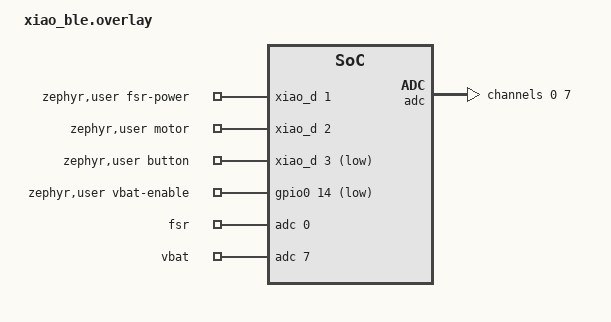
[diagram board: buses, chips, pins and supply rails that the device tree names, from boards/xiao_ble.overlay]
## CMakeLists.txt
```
cmake_minimum_required(VERSION 3.20.0)
find_package(Zephyr REQUIRED HINTS $ENV{ZEPHYR_BASE})
project(hush)

target_include_directories(app PRIVATE lib src)
target_sources(app PRIVATE src/main.c src/ble.c src/sensors.c lib/hush_capi.cpp)
```

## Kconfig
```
mainmenu "Hush retainer"

config HUSH_DEVKIT
	bool "Development kit: force sensor on the ADC; hall, capacitive and temperature mocked from the shell"
	default y if BOARD_XIAO_BLE
	select SHELL

source "Kconfig.zephyr"
```

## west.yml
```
# Zephyr version the firmware is verified against (upstream Zephyr; the same
# code builds on nRF Connect SDK v3.x). Workspace in CI: west init -l firmware
manifest:
  remotes:
    - name: zephyrproject-rtos
      url-base: https://github.com/zephyrproject-rtos
  projects:
    - name: zephyr
      remote: zephyrproject-rtos
      revision: v4.2.0
      import:
        name-allowlist: [cmsis_6, hal_nordic, mcuboot, zcbor, mbedtls, tinycrypt, segger]
  self:
    path: firmware
```

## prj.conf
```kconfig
# Hush retainer firmware (SPEC §5). Board specifics live in boards/<board>.{conf,overlay}.
CONFIG_CPP=y
CONFIG_STD_CPP17=y
CONFIG_FPU=y
CONFIG_MAIN_STACK_SIZE=4096
CONFIG_SYSTEM_WORKQUEUE_STACK_SIZE=2048
CONFIG_LOG=y
CONFIG_HWINFO=y
CONFIG_GPIO=y
CONFIG_ADC=y

# Event log, config and bonds persist in flash (NVS through settings)
CONFIG_FLASH=y
CONFIG_FLASH_MAP=y
CONFIG_NVS=y
CONFIG_SETTINGS=y
CONFIG_SETTINGS_NVS=y

# BLE: LE Secure Connections only, bonded, encrypted, at most 2 bonds (SPEC §5.5)
CONFIG_BT=y
CONFIG_BT_PERIPHERAL=y
CONFIG_BT_DEVICE_NAME="Hush"
CONFIG_BT_MAX_CONN=1
CONFIG_BT_MAX_PAIRED=2
CONFIG_BT_SMP=y
CONFIG_BT_SMP_SC_PAIR_ONLY=y
CONFIG_BT_SMP_APP_PAIRING_ACCEPT=y
CONFIG_BT_BONDABLE=y
CONFIG_BT_SETTINGS=y
CONFIG_BT_FILTER_ACCEPT_LIST=y
CONFIG_BT_PRIVACY=y
CONFIG_BT_L2CAP_TX_MTU=65
CONFIG_BT_BUF_ACL_RX_SIZE=69
```

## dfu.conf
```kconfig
# DFU over BLE (SPEC §5.5): MCUmgr SMP + MCUboot, refused unless DOCKED.
# For boards with MCUboot slot partitions (the v1 board):
#   west build -b <board> firmware --sysbuild -- -DEXTRA_CONF_FILE=dfu.conf
# The XIAO dev kit keeps its UF2 bootloader and is updated over USB instead.
CONFIG_NET_BUF=y
CONFIG_ZCBOR=y
CONFIG_MCUMGR=y
CONFIG_MCUMGR_TRANSPORT_BT=y
CONFIG_MCUMGR_TRANSPORT_BT_PERM_RW_ENCRYPT=y
CONFIG_MCUMGR_GRP_IMG=y
CONFIG_MCUMGR_GRP_OS=y
CONFIG_IMG_MANAGER=y
CONFIG_STREAM_FLASH=y
CONFIG_MCUMGR_MGMT_NOTIFICATION_HOOKS=y
CONFIG_MCUMGR_SMP_COMMAND_STATUS_HOOKS=y
```

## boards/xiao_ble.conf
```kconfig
# Dev kit: FSR on A0, motor on D2, "case button" on D3, mocked wear sensors via `hush` shell
CONFIG_HUSH_DEVKIT=y
CONFIG_SHELL=y
CONFIG_ADC_NRFX_SAADC=y
```

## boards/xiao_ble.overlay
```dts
/* Dev kit wiring (same as v0.1):
 *   FSR between D1 (switched supply) and A0, 10 kΩ from A0 to GND
 *   vibration motor via NPN on D2 (+ flyback diode)
 *   "case pairing button" to GND on D3
 */
#include <zephyr/dt-bindings/adc/nrf-saadc.h>

/ {
	zephyr,user {
		io-channels = <&adc 0>, <&adc 7>;
		io-channel-names = "fsr", "vbat";
		fsr-power-gpios = <&xiao_d 1 GPIO_ACTIVE_HIGH>;
		motor-gpios = <&xiao_d 2 GPIO_ACTIVE_HIGH>;
		button-gpios = <&xiao_d 3 (GPIO_ACTIVE_LOW | GPIO_PULL_UP)>;
		vbat-enable-gpios = <&gpio0 14 GPIO_ACTIVE_LOW>;
	};
};

&adc {
	status = "okay";
	#address-cells = <1>;
	#size-cells = <0>;

	channel@0 {
		reg = <0>;
		zephyr,gain = "ADC_GAIN_1_6";
		zephyr,reference = "ADC_REF_INTERNAL";
		zephyr,acquisition-time = <ADC_ACQ_TIME_DEFAULT>;
		zephyr,input-positive = <NRF_SAADC_AIN0>;
		zephyr,resolution = <12>;
	};

	channel@7 {
		reg = <7>;
		zephyr,gain = "ADC_GAIN_1_6";
		zephyr,reference = "ADC_REF_INTERNAL";
		zephyr,acquisition-time = <ADC_ACQ_TIME_DEFAULT>;
		zephyr,input-positive = <NRF_SAADC_AIN7>;
		zephyr,resolution = <12>;
	};
};
```

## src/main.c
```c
/* Hush retainer firmware (SPEC §5). 50 Hz loop: read sensors, run the core,
 * play haptics, persist the event log before it is indicated, drive BLE. */
#include <zephyr/bluetooth/bluetooth.h>
#include <zephyr/drivers/gpio.h>
#include <zephyr/drivers/hwinfo.h>
#include <zephyr/logging/log.h>
#include <zephyr/settings/settings.h>
#include <zephyr/sys/atomic.h>

#include "app.h"

LOG_MODULE_REGISTER(hush, LOG_LEVEL_INF);

K_MUTEX_DEFINE(core_lock);
void* core;
volatile uint32_t persisted_next_seq;

#define SAMPLE_MS 20
#define BATTERY_MS 30000

/* ---------------------------------------------------------------- haptics */
static const struct gpio_dt_spec motor = GPIO_DT_SPEC_GET(DT_PATH(zephyr_user), motor_gpios);
static uint8_t buzz_left;
static uint16_t buzz_on_ms;
static bool buzz_on;

static void buzz_step(struct k_work* w);
static K_WORK_DELAYABLE_DEFINE(buzz_work, buzz_step);

static void buzz_step(struct k_work* w) {
  if (buzz_on) {
    gpio_pin_set_dt(&motor, 0);
    buzz_on = false;
    if (buzz_left) k_work_reschedule(&buzz_work, K_MSEC(HUSH_HAPTIC_GAP_MS));
    return;
  }
  if (!buzz_left) return;
  buzz_left--;
  buzz_on = true;
  gpio_pin_set_dt(&motor, 1);
  k_work_reschedule(&buzz_work, K_MSEC(buzz_on_ms));
}

static void play(uint8_t pattern) {
  hush_haptic_pulses(pattern, &buzz_left, &buzz_on_ms);
  buzz_on = false;
  gpio_pin_set_dt(&motor, 0);
  k_work_reschedule(&buzz_work, K_NO_WAIT);
}

/* ---------------------------------------------------------------- persistence */
static atomic_t dirty;

static void save_step(struct k_work* w) {
  static uint8_t buf[HUSH_LOG_BLOB_MAX];
  size_t n;
  uint32_t next;
  atomic_val_t d = atomic_clear(&dirty);
  if (d & HUSH_DIRTY_SETTINGS) {
    LOCKED(n = hush_save_settings(core, buf));
    if (settings_save_one("hush/cfg", buf, n)) atomic_or(&dirty, HUSH_DIRTY_SETTINGS);
  }
  if (d & HUSH_DIRTY_LOG) {
    LOCKED(n = hush_save_log(core, buf); next = hush_next_seq(core));
    if (settings_save_one("hush/log", buf, n) == 0) persisted_next_seq = next;
    else atomic_or(&dirty, HUSH_DIRTY_LOG); /* retried on the next sample */
  }
}
static K_WORK_DEFINE(save_work, save_step);

static int load(const char* name, size_t len, settings_read_cb read_cb, void* arg) {
  static uint8_t buf[HUSH_LOG_BLOB_MAX];
  if (len > sizeof buf) return -EINVAL;
  ssize_t n = read_cb(arg, buf, len);
  if (n < 0) return n;
  if (!strcmp(name, "log")) LOCKED(hush_load_log(core, buf, n));
  else if (!strcmp(name, "cfg")) LOCKED(hush_load_settings(core, buf, n));
  return 0;
}
static struct settings_handler hush_settings = {.name = "hush", .h_set = load};

/* ---------------------------------------------------------------- main */
int main(void) {
  core = hush_static();
  gpio_pin_configure_dt(&motor, GPIO_OUTPUT_INACTIVE);
  if (sensors_init()) LOG_ERR("sensor init failed");

  settings_subsys_init();
  settings_register(&hush_settings);
  int err = bt_enable(NULL);
  if (err) LOG_ERR("bt_enable %d", err);
  ble_init();
  settings_load(); /* bonds, config + calibration, event log */

  uint32_t cause = 0;
  hwinfo_get_reset_cause(&cause);
  hwinfo_clear_reset_cause();
  LOCKED(hush_boot(core, k_uptime_get_32(), (uint16_t)cause));
  atomic_or(&dirty, HUSH_DIRTY_LOG);
  save_step(NULL);

  int64_t next = k_uptime_get();
  uint32_t last_batt = 0;
  bool first = true;
  for (;;) {
    uint32_t now = k_uptime_get_32();
    struct hush_inputs in = sensors_read();
    uint8_t haptic;
    int d;
    LOCKED(hush_sample(core, now, in.p_hpa, in.temp_c, in.hall, in.power, in.cap, in.button); haptic = hush_take_haptic(core);
           d = hush_take_dirty(core));
    if (haptic) play(haptic);
    if (first || now - last_batt >= BATTERY_MS) {
      uint16_t mv = battery_mv();
      first = false;
      last_batt = now;
      LOCKED(hush_battery(core, now, mv); d |= hush_take_dirty(core));
    }
    if (d || atomic_get(&dirty)) {
      atomic_or(&dirty, d);
      k_work_submit(&save_work);
    }
    ble_tick(now);
    next += SAMPLE_MS;
    k_sleep(K_TIMEOUT_ABS_MS(next));
  }
  return 0;
}
```

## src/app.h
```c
/* Shared by the Zephyr glue. All logic lives in lib/hush_core.h behind the C
 * ABI in lib/hush.h; these files only move bytes between it and the hardware. */
#ifndef HUSH_APP_H
#define HUSH_APP_H
#include <stdbool.h>
#include <zephyr/kernel.h>

#include "hush.h"

extern void* core;             /* hush_static() */
extern struct k_mutex core_lock; /* held for every hush_* call: sampling loop and BLE callbacks race */
#define LOCKED(stmt)                            \
  do {                                          \
    k_mutex_lock(&core_lock, K_FOREVER);        \
    stmt;                                       \
    k_mutex_unlock(&core_lock);                 \
  } while (0)

/* Events with seq >= this are not in flash yet and must not be indicated: a
 * reboot would reuse their seq for a different event. */
extern volatile uint32_t persisted_next_seq;

struct hush_inputs {
  float p_hpa;
  float temp_c;
  bool hall;
  bool power; /* charging power from the case present */
  int8_t cap; /* 1 near, 0 far, -1 unavailable */
  bool button;
};

int sensors_init(void);
struct hush_inputs sensors_read(void);
uint16_t battery_mv(void);

int ble_init(void);
void ble_tick(uint32_t now);

#endif
```

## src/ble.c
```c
/* GATT v2 (SPEC §5.5): LE Secure Connections only, bonded, every characteristic
 * encrypted; pairing only inside the DOCKED + 5 s button window; at most 2
 * bonds; advertising interval and flags from the core; DFU only while DOCKED. */
#include <zephyr/bluetooth/bluetooth.h>
#include <zephyr/bluetooth/conn.h>
#include <zephyr/bluetooth/gatt.h>
#include <zephyr/bluetooth/uuid.h>
#include <zephyr/logging/log.h>
#ifdef CONFIG_MCUMGR
#include <zephyr/mgmt/mcumgr/mgmt/callbacks.h>
#include <zephyr/mgmt/mcumgr/mgmt/mgmt.h>
#endif

#include "app.h"

LOG_MODULE_REGISTER(hush_ble, LOG_LEVEL_INF);

/* Same UUID base as v0.1; short id in the first field. Kept in sync with sim/
 * and app-android by sim/tests/test_protocol_parity.py. */
#define HUSH_UUID(n) BT_UUID_128_ENCODE(0x48570000 + (n), 0x0010, 0x55a1, 0x8e4d, 0x4c902b6e1f3a)
static const struct bt_uuid_128 svc_uuid = BT_UUID_INIT_128(HUSH_UUID(1));
static const struct bt_uuid_128 event_uuid = BT_UUID_INIT_128(HUSH_UUID(2));
static const struct bt_uuid_128 ack_uuid = BT_UUID_INIT_128(HUSH_UUID(3));
static const struct bt_uuid_128 config_uuid = BT_UUID_INIT_128(HUSH_UUID(4));
static const struct bt_uuid_128 cal_uuid = BT_UUID_INIT_128(HUSH_UUID(5));
static const struct bt_uuid_128 status_uuid = BT_UUID_INIT_128(HUSH_UUID(6));
static const struct bt_uuid_128 live_uuid = BT_UUID_INIT_128(HUSH_UUID(7));
static const struct bt_uuid_128 haptic_uuid = BT_UUID_INIT_128(HUSH_UUID(8));

#define ENC_RW (BT_GATT_PERM_READ_ENCRYPT | BT_GATT_PERM_WRITE_ENCRYPT)

static struct bt_conn* conn;
static bool event_sub, status_sub, live_sub;
static volatile bool ind_busy;
static uint8_t ind_buf[HUSH_EVENT_LEN];
static uint32_t ind_seq;
static struct bt_gatt_indicate_params ind;

/* ---------------------------------------------------------------- characteristics */
/* The core validates every write; a rejection is an ATT error (I11). */
static ssize_t accept(int ok, uint16_t len) { return ok ? len : BT_GATT_ERR(BT_ATT_ERR_VALUE_NOT_ALLOWED); }

static ssize_t write_ack(struct bt_conn* c, const struct bt_gatt_attr* a, const void* buf, uint16_t len, uint16_t off, uint8_t f) {
  int ok = 0;
  if (!off) LOCKED(ok = hush_write_ack(core, buf, len));
  return accept(ok, len);
}
static ssize_t write_config(struct bt_conn* c, const struct bt_gatt_attr* a, const void* buf, uint16_t len, uint16_t off, uint8_t f) {
  int ok = 0;
  if (!off) LOCKED(ok = hush_write_config(core, buf, len));
  return accept(ok, len);
}
static ssize_t write_cal(struct bt_conn* c, const struct bt_gatt_attr* a, const void* buf, uint16_t len, uint16_t off, uint8_t f) {
  int ok = 0;
  if (!off) LOCKED(ok = hush_write_calibrate(core, k_uptime_get_32(), buf, len));
  return accept(ok, len);
}
static ssize_t write_haptic(struct bt_conn* c, const struct bt_gatt_attr* a, const void* buf, uint16_t len, uint16_t off, uint8_t f) {
  int ok = 0;
  if (!off) LOCKED(ok = hush_write_haptic(core, buf, len));
  return accept(ok, len);
}
static ssize_t read_config(struct bt_conn* c, const struct bt_gatt_attr* a, void* buf, uint16_t len, uint16_t off) {
  uint8_t b[HUSH_CONFIG_LEN];
  LOCKED(hush_read_config(core, b));
  return bt_gatt_attr_read(c, a, buf, len, off, b, sizeof b);
}
static ssize_t read_status(struct bt_conn* c, const struct bt_gatt_attr* a, void* buf, uint16_t len, uint16_t off) {
  uint8_t b[HUSH_STATUS_LEN];
  LOCKED(hush_read_status(core, b));
  return bt_gatt_attr_read(c, a, buf, len, off, b, sizeof b);
}
static void event_ccc(const struct bt_gatt_attr* a, uint16_t v) { event_sub = v & BT_GATT_CCC_INDICATE; }
static void status_ccc(const struct bt_gatt_attr* a, uint16_t v) { status_sub = v & BT_GATT_CCC_NOTIFY; }
static void live_ccc(const struct bt_gatt_attr* a, uint16_t v) { live_sub = v & BT_GATT_CCC_NOTIFY; }

BT_GATT_SERVICE_DEFINE(hush_svc,
  BT_GATT_PRIMARY_SERVICE(&svc_uuid),
  BT_GATT_CHARACTERISTIC(&event_uuid.uuid, BT_GATT_CHRC_INDICATE, BT_GATT_PERM_NONE, NULL, NULL, NULL),
  BT_GATT_CCC(event_ccc, ENC_RW),
  BT_GATT_CHARACTERISTIC(&ack_uuid.uuid, BT_GATT_CHRC_WRITE, BT_GATT_PERM_WRITE_ENCRYPT, NULL, write_ack, NULL),
  BT_GATT_CHARACTERISTIC(&config_uuid.uuid, BT_GATT_CHRC_READ | BT_GATT_CHRC_WRITE, ENC_RW, read_config, write_config, NULL),
  BT_GATT_CHARACTERISTIC(&cal_uuid.uuid, BT_GATT_CHRC_WRITE, BT_GATT_PERM_WRITE_ENCRYPT, NULL, write_cal, NULL),
  BT_GATT_CHARACTERISTIC(&status_uuid.uuid, BT_GATT_CHRC_READ | BT_GATT_CHRC_NOTIFY, BT_GATT_PERM_READ_ENCRYPT, read_status, NULL, NULL),
  BT_GATT_CCC(status_ccc, ENC_RW),
  BT_GATT_CHARACTERISTIC(&haptic_uuid.uuid, BT_GATT_CHRC_WRITE, BT_GATT_PERM_WRITE_ENCRYPT, NULL, write_haptic, NULL),
  BT_GATT_CHARACTERISTIC(&live_uuid.uuid, BT_GATT_CHRC_NOTIFY, BT_GATT_PERM_NONE, NULL, NULL, NULL),
  BT_GATT_CCC(live_ccc, ENC_RW),
);

static const struct bt_gatt_attr* attr_of(const struct bt_uuid_128* u) {
  return bt_gatt_find_by_uuid(hush_svc.attrs, hush_svc.attr_count, &u->uuid);
}

/* ---------------------------------------------------------------- connections, pairing */
static bool adv_on, adv_dirty = true, adv_pairing;
static uint16_t adv_iv;
static uint8_t adv_flags;

static void connected(struct bt_conn* c, uint8_t err) {
  adv_on = false;
  if (err) {
    adv_dirty = true;
    return;
  }
  conn = bt_conn_ref(c);
  bt_conn_set_security(c, BT_SECURITY_L2); /* encrypt with the bond, or pair inside the window */
}

static void disconnected(struct bt_conn* c, uint8_t reason) {
  if (conn == c) {
    bt_conn_unref(conn);
    conn = NULL;
  }
  event_sub = status_sub = live_sub = false;
  ind_busy = false;
  LOCKED(hush_disconnected(core)); /* re-send everything un-ACKed next time */
  adv_dirty = true;
  LOG_INF("disconnected 0x%02x", reason);
}

static struct bt_conn_cb conn_cbs = {.connected = connected, .disconnected = disconnected};

static enum bt_security_err pairing_accept(struct bt_conn* c, const struct bt_conn_pairing_feat* feat) {
  int open;
  LOCKED(open = hush_pairing_open(core));
  return open ? BT_SECURITY_ERR_SUCCESS : BT_SECURITY_ERR_PAIR_NOT_ALLOWED;
}
static void pairing_complete(struct bt_conn* c, bool bonded) {
  if (bonded) LOCKED(hush_pairing_bonded(core));
  adv_dirty = true;
}
static struct bt_conn_auth_cb auth_cb = {.pairing_accept = pairing_accept};
static struct bt_conn_auth_info_cb auth_info_cb = {.pairing_complete = pairing_complete};

static void count_bond(const struct bt_bond_info* info, void* n) { ++*(int*)n; }
static void accept_bond(const struct bt_bond_info* info, void* unused) { bt_le_filter_accept_list_add(&info->addr); }

/* ---------------------------------------------------------------- DFU gate */
#ifdef CONFIG_MCUMGR
static enum mgmt_cb_return smp_gate(uint32_t event, enum mgmt_cb_return prev, int32_t* rc, uint16_t* group,
                                    bool* abort_more, void* data, size_t len) {
  int ok;
  LOCKED(ok = hush_dfu_allowed(core));
  if (ok) return MGMT_CB_OK;
  *rc = MGMT_ERR_EACCESSDENIED;
  return MGMT_CB_ERROR_RC;
}
static struct mgmt_callback smp_cb = {.callback = smp_gate, .event_id = MGMT_EVT_OP_CMD_RECV};
#endif

/* ---------------------------------------------------------------- advertising */
/* Outside the pairing window only the flag byte is advertised and only bonded
 * phones may connect; the name and service UUID appear only while pairing, so a
 * stranger's scanner does not see "Hush". */
static uint8_t mfg[3] = {0xff, 0xff, 0}; /* ponytail: test company ID until Hush has a Bluetooth SIG one */
static const uint8_t flags_pairing[] = {BT_LE_AD_GENERAL | BT_LE_AD_NO_BREDR};
static const uint8_t flags_bonded[] = {BT_LE_AD_NO_BREDR};
static const uint8_t svc_bytes[] = {HUSH_UUID(1)};

static void adv_restart(uint16_t iv_ms, uint8_t flags, bool pairing) {
  bt_le_adv_stop();
  bt_le_filter_accept_list_clear();
  if (!pairing) bt_foreach_bond(BT_ID_DEFAULT, accept_bond, NULL);
  mfg[2] = flags;
  const struct bt_data ad_pair[] = {
    BT_DATA(BT_DATA_FLAGS, flags_pairing, sizeof flags_pairing),
    BT_DATA(BT_DATA_UUID128_ALL, svc_bytes, sizeof svc_bytes),
    BT_DATA(BT_DATA_MANUFACTURER_DATA, mfg, sizeof mfg),
  };
  const struct bt_data ad_bonded[] = {
    BT_DATA(BT_DATA_FLAGS, flags_bonded, sizeof flags_bonded),
    BT_DATA(BT_DATA_MANUFACTURER_DATA, mfg, sizeof mfg),
  };
  const struct bt_data sd[] = {BT_DATA(BT_DATA_NAME_COMPLETE, CONFIG_BT_DEVICE_NAME, sizeof(CONFIG_BT_DEVICE_NAME) - 1)};
  uint32_t units = (uint32_t)iv_ms * 8 / 5; /* 0.625 ms */
  struct bt_le_adv_param p = BT_LE_ADV_PARAM_INIT(BT_LE_ADV_OPT_CONN | (pairing ? 0 : BT_LE_ADV_OPT_FILTER_CONN),
                                                  units, units, NULL);
  int err = pairing ? bt_le_adv_start(&p, ad_pair, ARRAY_SIZE(ad_pair), sd, ARRAY_SIZE(sd))
                    : bt_le_adv_start(&p, ad_bonded, ARRAY_SIZE(ad_bonded), NULL, 0);
  adv_on = err == 0;
  if (err) LOG_ERR("adv start %d", err);
}

/* ---------------------------------------------------------------- per-sample tick */
static void ind_done(struct bt_conn* c, struct bt_gatt_indicate_params* p, uint8_t err) {
  if (!err) LOCKED(hush_indicated(core, ind_seq)); /* removed from the log only on ACK */
  ind_busy = false;
}

void ble_tick(uint32_t now) {
  static uint32_t last_status, last_live;
  uint16_t iv;
  uint8_t flags, pct;
  int pairing, have = 0;
  uint8_t ev[HUSH_EVENT_LEN];
  k_mutex_lock(&core_lock, K_FOREVER);
  iv = hush_adv_interval(core, now);
  flags = hush_adv_flags(core);
  pairing = hush_pairing_open(core);
  pct = hush_live_pct(core);
  if (conn && event_sub && !ind_busy) have = hush_next_event(core, ev);
  k_mutex_unlock(&core_lock);

  if (pairing && !adv_pairing) { /* entering the window with both bond slots used: start over */
    int n = 0;
    bt_foreach_bond(BT_ID_DEFAULT, count_bond, &n);
    if (n >= CONFIG_BT_MAX_PAIRED) bt_unpair(BT_ID_DEFAULT, BT_ADDR_LE_ANY);
  }
  if (!conn) {
    if (adv_dirty || !adv_on || iv != adv_iv || flags != adv_flags || pairing != adv_pairing) {
      adv_iv = iv;
      adv_flags = flags;
      adv_pairing = pairing;
      adv_dirty = false;
      adv_restart(iv, flags, pairing);
    }
    return;
  }
  adv_pairing = pairing;
  uint32_t seq = ev[0] | ev[1] << 8 | ev[2] << 16 | (uint32_t)ev[3] << 24;
  if (have && seq < persisted_next_seq) {
    memcpy(ind_buf, ev, sizeof ind_buf);
    ind_seq = seq;
    ind = (struct bt_gatt_indicate_params){.attr = attr_of(&event_uuid), .func = ind_done, .data = ind_buf, .len = sizeof ind_buf};
    ind_busy = true;
    if (bt_gatt_indicate(conn, &ind)) ind_busy = false;
  }
  if (status_sub && now - last_status >= 30000) {
    uint8_t b[HUSH_STATUS_LEN];
    last_status = now;
    LOCKED(hush_read_status(core, b));
    bt_gatt_notify(conn, attr_of(&status_uuid), b, sizeof b);
  }
  if (live_sub && now - last_live >= 50) { /* 20 Hz, tuning only */
    last_live = now;
    bt_gatt_notify(conn, attr_of(&live_uuid), &pct, 1);
  }
}

int ble_init(void) {
  bt_conn_cb_register(&conn_cbs);
#ifdef CONFIG_MCUMGR
  mgmt_callback_register(&smp_cb);
#endif
  int err = bt_conn_auth_cb_register(&auth_cb);
  return err ? err : bt_conn_auth_info_cb_register(&auth_info_cb);
}
```

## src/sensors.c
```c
/* Sensor inputs.
 *
 * Dev kit (CONFIG_HUSH_DEVKIT, Seeed XIAO nRF52840): an FSR on the ADC stands
 * in for cavity pressure (ADC counts used as "hPa"; calibration makes the units
 * irrelevant). Hall, capacitive proximity and temperature are mocked from the
 * shell: hush wear | remove | dock | magnet | nocap | temp <c> | button | status.
 *
 * v1 board (ISP1807): BMP585 cavity pressure + temperature and the hall switch.
 * ponytail: polled at 50 Hz until the v1 board exists; move to the BMP585 FIFO
 * drained every 200 ms (SPEC §5.3) for the power budget, and wire the
 * capacitive channel once its part is chosen (until then cap = -1 selects the
 * temperature fallback in the wear state machine). */
#include <stdlib.h>
#include <zephyr/drivers/adc.h>
#include <zephyr/drivers/gpio.h>
#include <zephyr/drivers/sensor.h>
#include <zephyr/shell/shell.h>

#include "app.h"

#define USER DT_PATH(zephyr_user)

#if DT_PROP_HAS_NAME(USER, io_channels, vbat)
#define HAVE_VBAT 1
static const struct adc_dt_spec vbat = ADC_DT_SPEC_GET_BY_NAME(USER, vbat);
static const struct gpio_dt_spec vbat_en = GPIO_DT_SPEC_GET_OR(USER, vbat_enable_gpios, {0});
#endif
static const struct gpio_dt_spec button = GPIO_DT_SPEC_GET_OR(USER, button_gpios, {0});

static int16_t adc_once(const struct adc_dt_spec* ch) {
  int16_t raw = 0;
  struct adc_sequence seq = {.buffer = &raw, .buffer_size = sizeof raw};
  adc_sequence_init_dt(ch, &seq);
  return adc_read_dt(ch, &seq) == 0 ? raw : 0;
}

uint16_t battery_mv(void) {
#ifdef HAVE_VBAT
  if (vbat_en.port) gpio_pin_set_dt(&vbat_en, 1);
  int32_t mv = adc_once(&vbat);
  if (vbat_en.port) gpio_pin_set_dt(&vbat_en, 0);
  if (adc_raw_to_millivolts_dt(&vbat, &mv)) return 0;
  return (uint16_t)(mv * 1510 / 510); /* XIAO: 1 MΩ / 510 kΩ divider */
#else
  return 0;
#endif
}

static bool button_pressed(void) { return button.port && gpio_pin_get_dt(&button) > 0; }

static void common_init(void) {
#ifdef HAVE_VBAT
  adc_channel_setup_dt(&vbat);
  if (vbat_en.port) gpio_pin_configure_dt(&vbat_en, GPIO_OUTPUT_INACTIVE);
#endif
  if (button.port) gpio_pin_configure_dt(&button, GPIO_INPUT);
}

#if CONFIG_HUSH_DEVKIT
/* ---------------------------------------------------------------- dev kit */
static const struct adc_dt_spec fsr = ADC_DT_SPEC_GET_BY_NAME(USER, fsr);
static const struct gpio_dt_spec fsr_pwr = GPIO_DT_SPEC_GET(USER, fsr_power_gpios);
static struct {
  bool hall;
  bool power;
  int8_t cap;
  float temp;
  int64_t button_until;
} mock = {false, false, 1, 36.5f, 0};

int sensors_init(void) {
  common_init();
  gpio_pin_configure_dt(&fsr_pwr, GPIO_OUTPUT_INACTIVE);
  return adc_channel_setup_dt(&fsr);
}

struct hush_inputs sensors_read(void) {
  gpio_pin_set_dt(&fsr_pwr, 1); /* the divider draws current only while sampling */
  k_busy_wait(50);
  float p = adc_once(&fsr);
  gpio_pin_set_dt(&fsr_pwr, 0);
  return (struct hush_inputs){p, mock.temp, mock.hall, mock.power, mock.cap, button_pressed() || k_uptime_get() < mock.button_until};
}

static int cmd_wear(const struct shell* sh, size_t argc, char** argv) {
  mock.hall = false; mock.power = false; mock.cap = 1; mock.temp = 36.5f;
  shell_print(sh, "in mouth (WORN after 10 s)");
  return 0;
}
static int cmd_remove(const struct shell* sh, size_t argc, char** argv) {
  mock.hall = false; mock.power = false; mock.cap = 0; mock.temp = 25;
  shell_print(sh, "out of the mouth (REMOVED_WHILE_ARMED after 3 s)");
  return 0;
}
static int cmd_dock(const struct shell* sh, size_t argc, char** argv) {
  mock.hall = true; mock.power = true; mock.cap = 0; mock.temp = 25;
  shell_print(sh, "in the case (DOCKED after 1 s)");
  return 0;
}
static int cmd_magnet(const struct shell* sh, size_t argc, char** argv) {
  mock.hall = true; mock.power = false; mock.cap = 0; mock.temp = 25;
  shell_print(sh, "bare magnet, no charging power: must NOT dock (removal alarm still fires)");
  return 0;
}
static int cmd_nocap(const struct shell* sh, size_t argc, char** argv) {
  mock.cap = -1;
  shell_print(sh, "capacitive sensing unavailable: temperature fallback");
  return 0;
}
static int cmd_temp(const struct shell* sh, size_t argc, char** argv) {
  mock.temp = strtof(argv[1], NULL);
  shell_print(sh, "temperature set");
  return 0;
}
static int cmd_button(const struct shell* sh, size_t argc, char** argv) {
  mock.button_until = k_uptime_get() + 6000;
  shell_print(sh, "case button held 6 s (opens pairing while DOCKED)");
  return 0;
}
static int cmd_status(const struct shell* sh, size_t argc, char** argv) {
  uint8_t s[HUSH_STATUS_LEN];
  int pairing, pct;
  LOCKED(hush_read_status(core, s); pairing = hush_pairing_open(core); pct = hush_live_pct(core));
  shell_print(sh, "batt %u mV wear %u armed %u pending %u faults 0x%02x cal %d..%d hPa pairing %d pct %d",
              s[0] | s[1] << 8, s[2], s[3], s[4], s[5], (int16_t)(s[6] | s[7] << 8), (int16_t)(s[8] | s[9] << 8),
              pairing, pct);
  return 0;
}
SHELL_STATIC_SUBCMD_SET_CREATE(hush_cmds,
  SHELL_CMD(wear, NULL, "retainer in the mouth", cmd_wear),
  SHELL_CMD(remove, NULL, "retainer out of the mouth", cmd_remove),
  SHELL_CMD(dock, NULL, "retainer in the case", cmd_dock),
  SHELL_CMD(magnet, NULL, "bare magnet without the case", cmd_magnet),
  SHELL_CMD(nocap, NULL, "simulate capacitive sensing failure", cmd_nocap),
  SHELL_CMD_ARG(temp, NULL, "temp <celsius>", cmd_temp, 2, 0),
  SHELL_CMD(button, NULL, "hold the case pairing button", cmd_button),
  SHELL_CMD(status, NULL, "print STATUS", cmd_status),
  SHELL_SUBCMD_SET_END);
SHELL_CMD_REGISTER(hush, &hush_cmds, "Hush mock inputs", NULL);

#else
/* ---------------------------------------------------------------- v1 board */
static const struct device* const baro = DEVICE_DT_GET_ONE(bosch_bmp581);
static const struct gpio_dt_spec hall = GPIO_DT_SPEC_GET(USER, hall_gpios);
static const struct gpio_dt_spec power_good = GPIO_DT_SPEC_GET(USER, power_good_gpios); /* charger IC: input power present */

int sensors_init(void) {
  common_init();
  gpio_pin_configure_dt(&hall, GPIO_INPUT);
  gpio_pin_configure_dt(&power_good, GPIO_INPUT);
  return device_is_ready(baro) ? 0 : -ENODEV;
}

struct hush_inputs sensors_read(void) {
  struct sensor_value p = {0}, t = {0};
  if (sensor_sample_fetch(baro) == 0) {
    sensor_channel_get(baro, SENSOR_CHAN_PRESS, &p); /* kPa */
    sensor_channel_get(baro, SENSOR_CHAN_AMBIENT_TEMP, &t);
  } else {
    LOCKED(hush_sensor_fault(core, k_uptime_get_32(), 0x04 /* FAULT_SENSOR_IO */));
  }
  return (struct hush_inputs){(float)(sensor_value_to_double(&p) * 10.0), (float)sensor_value_to_double(&t),
                              gpio_pin_get_dt(&hall) > 0, gpio_pin_get_dt(&power_good) > 0, -1, button_pressed()};
}
#endif
```
